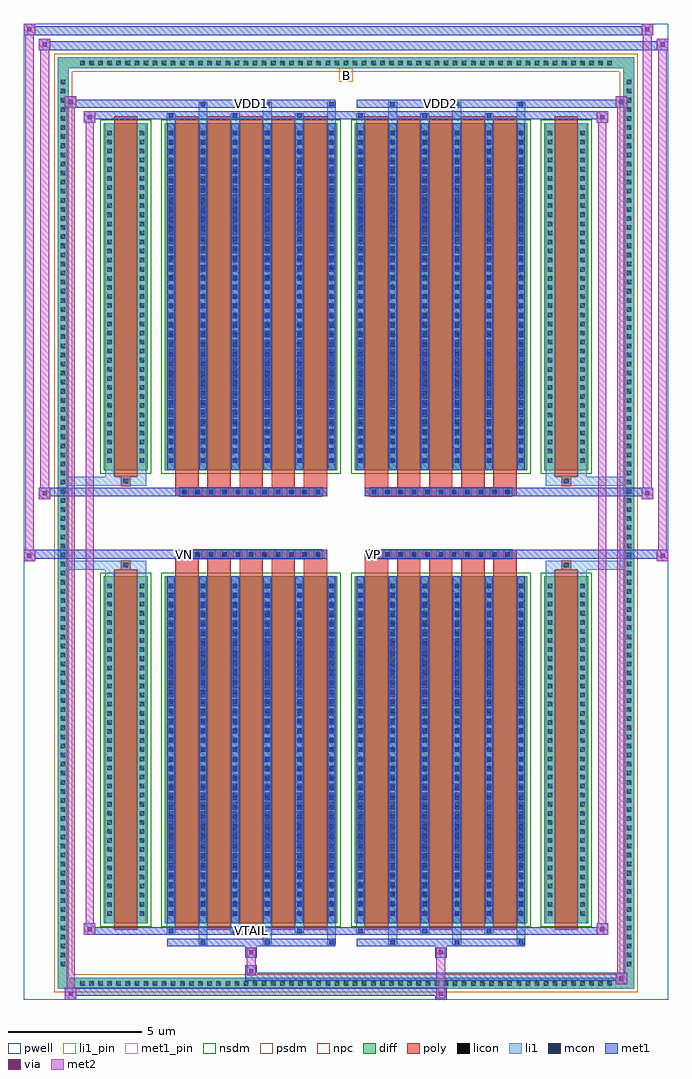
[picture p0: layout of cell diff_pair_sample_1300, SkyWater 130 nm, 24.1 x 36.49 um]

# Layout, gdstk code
import gdstk
lib = gdstk.Library(unit=1e-6, precision=5e-09)
def R(c, l, rs):  # rectangles x0, y0, x1, y1
    for r in rs: c.add(gdstk.rectangle(r[:2], r[2:], *l))
def A(c, l, x, y, w, h, nx, ny, dx, dy):  # array of equal rectangles
    R(c, l, [(x+i*dx, y+j*dy, x+i*dx+w, y+j*dy+h) for i in range(nx) for j in range(ny)])
def P(c, l, *ps):  # polygons
    for p in ps: c.add(gdstk.Polygon(p, *l))
pwell = (64, 44)
diff = (65, 20)
poly = (66, 20)
licon = (66, 44)
li1_pin = (67, 16)
li1 = (67, 20)
mcon = (67, 44)
met1_pin = (68, 16)
met1 = (68, 20)
via = (68, 44)
met2 = (69, 20)
nsdm = (93, 44)
psdm = (94, 20)
npc = (95, 20)

diff_pair_sample_1300 = lib.new_cell('diff_pair_sample_1300')
R(diff_pair_sample_1300, pwell, [(-12.05,-17.81,12.05,18.68), (-9.37,-16,-0.01,-0.8), (0.01,-16,9.37,-0.8), (-9.37,0.8,-0.01,16), (0.01,0.8,9.37,16)])
A(diff_pair_sample_1300, diff, -10.065, -17.41, 0.41, 0.41, 59, 2, 0.34, 34.41)
A(diff_pair_sample_1300, diff, -10.78, -16.695, 0.41, 0.41, 1, 98, 0, 0.34)
A(diff_pair_sample_1300, diff, 10.37, -16.695, 0.41, 0.41, 1, 98, 0, 0.34)
R(diff_pair_sample_1300, diff, [(-10.065,-17.41,10.065,-17), (-10.78,-16.695,-10.37,16.695), (10.37,-16.695,10.78,16.695), (-9.06,-14.955,-7.41,-1.985), (-6.77,-14.955,-0.32,-1.985), (0.32,-14.955,6.77,-1.985), (7.41,-14.955,9.06,-1.985), (-9.06,1.985,-7.41,14.955), (-6.77,1.985,-0.32,14.955), (0.32,1.985,6.77,14.955), (7.41,1.985,9.06,14.955), (-10.065,17,10.065,17.41)])
P(diff_pair_sample_1300, diff, [(10.78,17.41),(-10.78,17.41),(-10.78,-17),(-10.37,-17),(-10.37,17),(10.37,17),(10.37,-17),(-10.37,-17),(-10.78,-17),(-10.78,-17.41),(10.78,-17.41)])
A(diff_pair_sample_1300, poly, -6.38, -15.205, 0.87, 13.47, 5, 2, 1.2, 16.94)
A(diff_pair_sample_1300, poly, 0.71, -15.205, 0.87, 13.47, 5, 2, 1.2, 16.94)
A(diff_pair_sample_1300, poly, -6.38, -1.735, 0.87, 0.405, 5, 2, 1.2, 3.065)
A(diff_pair_sample_1300, poly, 0.71, -1.735, 0.87, 0.405, 5, 2, 1.2, 3.065)
A(diff_pair_sample_1300, poly, -6.21, -1.33, 0.33, 0.33, 11, 2, 0.5, 2.33)
A(diff_pair_sample_1300, poly, 0.88, -1.33, 0.33, 0.33, 11, 2, 0.5, 2.33)
R(diff_pair_sample_1300, poly, [(-8.67,-15.205,-7.8,-1.735), (7.8,-15.205,8.67,-1.735), (-8.4,-1.735,-8.07,-1.405), (-8.4,-1.735,-8.07,-1.405), (8.07,-1.735,8.4,-1.405), (8.07,-1.735,8.4,-1.405), (-6.38,-1.33,-0.71,-1), (0.71,-1.33,6.38,-1), (-6.38,1,-0.71,1.33), (0.71,1,6.38,1.33), (-8.4,1.405,-8.07,1.735), (-8.4,1.405,-8.07,1.735), (8.07,1.405,8.4,1.735), (8.07,1.405,8.4,1.735), (-8.67,1.735,-7.8,15.205), (7.8,1.735,8.67,15.205)])
A(diff_pair_sample_1300, licon, -9.945, -17.29, 0.17, 0.17, 59, 2, 0.34, 34.41)
A(diff_pair_sample_1300, licon, -10.66, -16.575, 0.17, 0.17, 1, 98, 0, 0.34)
A(diff_pair_sample_1300, licon, 10.49, -16.575, 0.17, 0.17, 1, 98, 0, 0.34)
A(diff_pair_sample_1300, licon, -8.92, -14.675, 0.17, 0.17, 1, 37, 0, 0.34)
A(diff_pair_sample_1300, licon, -7.72, -14.675, 0.17, 0.17, 1, 37, 0, 0.34)
A(diff_pair_sample_1300, licon, -6.63, -14.675, 0.17, 0.17, 6, 37, 1.2, 0.34)
A(diff_pair_sample_1300, licon, 0.46, -14.675, 0.17, 0.17, 6, 37, 1.2, 0.34)
A(diff_pair_sample_1300, licon, 7.55, -14.675, 0.17, 0.17, 1, 37, 0, 0.34)
A(diff_pair_sample_1300, licon, 8.75, -14.675, 0.17, 0.17, 1, 37, 0, 0.34)
A(diff_pair_sample_1300, licon, -6.13, -1.25, 0.17, 0.17, 11, 2, 0.5, 2.33)
A(diff_pair_sample_1300, licon, 0.96, -1.25, 0.17, 0.17, 11, 2, 0.5, 2.33)
A(diff_pair_sample_1300, licon, -8.92, 2.265, 0.17, 0.17, 1, 37, 0, 0.34)
A(diff_pair_sample_1300, licon, -7.72, 2.265, 0.17, 0.17, 1, 37, 0, 0.34)
A(diff_pair_sample_1300, licon, -6.63, 2.265, 0.17, 0.17, 6, 37, 1.2, 0.34)
A(diff_pair_sample_1300, licon, 0.46, 2.265, 0.17, 0.17, 6, 37, 1.2, 0.34)
A(diff_pair_sample_1300, licon, 7.55, 2.265, 0.17, 0.17, 1, 37, 0, 0.34)
A(diff_pair_sample_1300, licon, 8.75, 2.265, 0.17, 0.17, 1, 37, 0, 0.34)
R(diff_pair_sample_1300, licon, [(-8.32,-1.655,-8.15,-1.485), (8.15,-1.655,8.32,-1.485), (-8.32,1.485,-8.15,1.655), (8.15,1.485,8.32,1.655)])
R(diff_pair_sample_1300, li1_pin, [(-0.25,16.5,0.25,17)])
A(diff_pair_sample_1300, li1, -10.025, -17.37, 0.33, 0.33, 59, 2, 0.34, 34.41)
A(diff_pair_sample_1300, li1, -10.74, -16.655, 0.33, 0.33, 1, 98, 0, 0.34)
A(diff_pair_sample_1300, li1, 10.41, -16.655, 0.33, 0.33, 1, 98, 0, 0.34)
A(diff_pair_sample_1300, li1, -5.51, -15.76, 0.33, 0.805, 3, 2, 2.4, 30.715)
A(diff_pair_sample_1300, li1, -5.43, -15.76, 0.17, 0.17, 3, 2, 2.4, 31.35)
A(diff_pair_sample_1300, li1, 1.58, -15.76, 0.33, 0.805, 3, 2, 2.4, 30.715)
A(diff_pair_sample_1300, li1, 1.66, -15.76, 0.17, 0.17, 3, 2, 2.4, 31.35)
A(diff_pair_sample_1300, li1, -6.71, -15.33, 0.33, 0.375, 3, 2, 2.4, 30.285)
A(diff_pair_sample_1300, li1, -6.63, -15.33, 0.17, 0.17, 3, 2, 2.4, 30.49)
A(diff_pair_sample_1300, li1, 0.38, -15.33, 0.33, 0.375, 3, 2, 2.4, 30.285)
A(diff_pair_sample_1300, li1, 0.46, -15.33, 0.17, 0.17, 3, 2, 2.4, 30.49)
A(diff_pair_sample_1300, li1, -6.71, -14.955, 0.33, 12.97, 6, 2, 1.2, 16.94)
A(diff_pair_sample_1300, li1, 0.38, -14.955, 0.33, 12.97, 6, 2, 1.2, 16.94)
A(diff_pair_sample_1300, li1, -9, -14.755, 0.33, 0.33, 1, 37, 0, 0.34)
A(diff_pair_sample_1300, li1, -7.8, -14.755, 0.33, 0.33, 1, 37, 0, 0.34)
A(diff_pair_sample_1300, li1, -6.71, -14.755, 0.33, 0.33, 6, 37, 1.2, 0.34)
A(diff_pair_sample_1300, li1, 0.38, -14.755, 0.33, 0.33, 6, 37, 1.2, 0.34)
A(diff_pair_sample_1300, li1, 7.47, -14.755, 0.33, 0.33, 1, 37, 0, 0.34)
A(diff_pair_sample_1300, li1, 8.67, -14.755, 0.33, 0.33, 1, 37, 0, 0.34)
A(diff_pair_sample_1300, li1, -6.63, -14.675, 0.17, 0.17, 6, 35, 1.2, 0.36)
A(diff_pair_sample_1300, li1, -6.63, -14.675, 0.17, 12.41, 6, 2, 1.2, 16.94)
A(diff_pair_sample_1300, li1, 0.46, -14.675, 0.17, 0.17, 6, 35, 1.2, 0.36)
A(diff_pair_sample_1300, li1, 0.46, -14.675, 0.17, 12.41, 6, 2, 1.2, 16.94)
A(diff_pair_sample_1300, li1, -6.21, -1.33, 0.33, 0.33, 11, 2, 0.5, 2.33)
A(diff_pair_sample_1300, li1, 0.88, -1.33, 0.33, 0.33, 11, 2, 0.5, 2.33)
A(diff_pair_sample_1300, li1, -9, 2.185, 0.33, 0.33, 1, 37, 0, 0.34)
A(diff_pair_sample_1300, li1, -7.8, 2.185, 0.33, 0.33, 1, 37, 0, 0.34)
A(diff_pair_sample_1300, li1, -6.71, 2.185, 0.33, 0.33, 6, 37, 1.2, 0.34)
A(diff_pair_sample_1300, li1, 0.38, 2.185, 0.33, 0.33, 6, 37, 1.2, 0.34)
A(diff_pair_sample_1300, li1, 7.47, 2.185, 0.33, 0.33, 1, 37, 0, 0.34)
A(diff_pair_sample_1300, li1, 8.67, 2.185, 0.33, 0.33, 1, 37, 0, 0.34)
A(diff_pair_sample_1300, li1, -6.63, 2.265, 0.17, 0.17, 6, 35, 1.2, 0.36)
A(diff_pair_sample_1300, li1, 0.46, 2.265, 0.17, 0.17, 6, 35, 1.2, 0.36)
R(diff_pair_sample_1300, li1, [(-10.78,-17.41,-10.37,-17), (-10.78,-17.41,-10.37,-17), (-10.37,-17.41,10.37,-17), (10.37,-17.41,10.78,-17), (10.37,-17.41,10.78,-17), (-10.78,-17,-10.37,17), (10.37,-17,10.78,17), (-9,-14.955,-8.67,-1.985), (-7.8,-14.955,-7.47,-1.985), (7.47,-14.955,7.8,-1.985), (8.67,-14.955,9,-1.985), (-9,-1.985,-8.67,-1.405), (-7.8,-1.985,-7.47,-1.405), (7.47,-1.985,7.8,-1.405), (8.67,-1.985,9,-1.405), (-10.78,-1.735,-8.4,-1.405), (-9,-1.735,-8.4,-1.405), (-8.4,-1.735,-8.07,-1.405), (-8.07,-1.735,-7.47,-1.405), (7.47,-1.735,8.07,-1.405), (8.07,-1.735,8.4,-1.405), (8.07,-1.735,10.78,-1.405), (8.4,-1.735,9,-1.405), (-10.78,1.405,-8.4,1.735), (-9,1.405,-8.4,1.735), (-9,1.405,-8.67,1.985), (-8.4,1.405,-8.07,1.735), (-8.07,1.405,-7.47,1.735), (-7.8,1.405,-7.47,1.985), (7.47,1.405,8.07,1.735), (7.47,1.405,7.8,1.985), (8.07,1.405,8.4,1.735), (8.07,1.405,10.78,1.735), (8.4,1.405,9,1.735), (8.67,1.405,9,1.985), (-9,1.985,-8.67,14.955), (-7.8,1.985,-7.47,14.955), (7.47,1.985,7.8,14.955), (8.67,1.985,9,14.955), (-10.78,17,-10.37,17.41), (-10.78,17,-10.37,17.41), (-10.37,17,10.37,17.41), (10.37,17,10.78,17.41), (10.37,17,10.78,17.41)])
A(diff_pair_sample_1300, mcon, -5.43, -15.76, 0.17, 0.17, 3, 2, 2.4, 31.35)
A(diff_pair_sample_1300, mcon, 1.66, -15.76, 0.17, 0.17, 3, 2, 2.4, 31.35)
A(diff_pair_sample_1300, mcon, -6.63, -15.33, 0.17, 0.17, 3, 2, 2.4, 30.49)
A(diff_pair_sample_1300, mcon, 0.46, -15.33, 0.17, 0.17, 3, 2, 2.4, 30.49)
A(diff_pair_sample_1300, mcon, -6.63, -14.675, 0.17, 0.17, 6, 35, 1.2, 0.36)
A(diff_pair_sample_1300, mcon, 0.46, -14.675, 0.17, 0.17, 6, 35, 1.2, 0.36)
A(diff_pair_sample_1300, mcon, -6.13, -1.25, 0.17, 0.17, 11, 2, 0.5, 2.33)
A(diff_pair_sample_1300, mcon, 0.96, -1.25, 0.17, 0.17, 11, 2, 0.5, 2.33)
A(diff_pair_sample_1300, mcon, -6.63, 2.265, 0.17, 0.17, 6, 35, 1.2, 0.36)
A(diff_pair_sample_1300, mcon, 0.46, 2.265, 0.17, 0.17, 6, 35, 1.2, 0.36)
R(diff_pair_sample_1300, met1_pin, [(-3.68,-15.37,-3.41,-15.1), (-6.18,-1.29,-5.91,-1.02), (0.91,-1.29,1.18,-1.02), (-3.68,15.55,-3.41,15.82), (3.41,15.55,3.68,15.82)])
A(diff_pair_sample_1300, met1, -5.49, -15.82, 0.29, 0.29, 3, 2, 2.4, 31.35)
A(diff_pair_sample_1300, met1, 1.6, -15.82, 0.29, 0.29, 3, 2, 2.4, 31.35)
A(diff_pair_sample_1300, met1, -6.69, -15.39, 0.29, 0.29, 3, 2, 2.4, 30.49)
A(diff_pair_sample_1300, met1, 0.4, -15.39, 0.29, 0.29, 3, 2, 2.4, 30.49)
A(diff_pair_sample_1300, met1, -6.69, -14.955, 0.29, 12.97, 6, 2, 1.2, 16.94)
A(diff_pair_sample_1300, met1, 0.4, -14.955, 0.29, 12.97, 6, 2, 1.2, 16.94)
A(diff_pair_sample_1300, met1, -6.69, -14.735, 0.29, 0.29, 6, 35, 1.2, 0.36)
A(diff_pair_sample_1300, met1, 0.4, -14.735, 0.29, 0.29, 6, 35, 1.2, 0.36)
A(diff_pair_sample_1300, met1, -6.19, -1.31, 0.29, 0.29, 11, 2, 0.5, 2.33)
A(diff_pair_sample_1300, met1, 0.9, -1.31, 0.29, 0.29, 11, 2, 0.5, 2.33)
A(diff_pair_sample_1300, met1, -6.69, 2.205, 0.29, 0.29, 6, 35, 1.2, 0.36)
A(diff_pair_sample_1300, met1, 0.4, 2.205, 0.29, 0.29, 6, 35, 1.2, 0.36)
R(diff_pair_sample_1300, met1, [(-10.51,-17.81,-10.08,-17.38), (3.33,-17.81,3.76,-17.38), (-10.51,-17.67,3.76,-17.38), (10.08,-17.24,10.51,-16.81), (-3.76,-17.1,10.51,-16.81), (-3.76,-16.96,-3.33,-16.53), (-3.76,-16.25,-3.33,-15.82), (3.33,-16.25,3.76,-15.82), (-6.69,-15.82,-0.4,-15.53), (0.4,-15.82,6.69,-15.53), (-9.8,-15.39,-9.37,-14.96), (-9.8,-15.39,-6.69,-15.1), (-6.69,-15.39,-0.4,-15.1), (-0.4,-15.39,0.4,-15.1), (0.4,-15.39,6.69,-15.1), (6.69,-15.39,9.8,-15.1), (9.37,-15.39,9.8,-14.96), (-12.05,-1.43,-11.62,-1), (11.62,-1.43,12.05,-1), (-12.05,-1.33,-0.71,-1), (-6.38,-1.33,-0.71,-1), (0.71,-1.33,6.38,-1), (0.71,-1.33,12.05,-1), (-11.48,0.9,-11.05,1.33), (11.05,0.9,11.48,1.33), (-11.48,1,-6.38,1.33), (-6.38,1,-0.71,1.33), (0.71,1,6.38,1.33), (6.38,1,11.48,1.33), (-9.8,14.96,-9.37,15.39), (9.37,14.96,9.8,15.39), (-9.8,15.1,-6.69,15.39), (-6.69,15.1,-0.4,15.39), (-0.4,15.1,0.4,15.39), (0.4,15.1,6.69,15.39), (6.69,15.1,9.8,15.39), (-10.51,15.53,-10.08,15.96), (-10.51,15.53,-6.69,15.82), (-6.69,15.53,-0.4,15.82), (0.4,15.53,6.69,15.82), (6.69,15.53,10.51,15.82), (10.08,15.53,10.51,15.96), (-11.48,17.68,-11.05,18.11), (-11.48,17.68,-9.37,18.01), (-9.37,17.68,9.37,18.01), (9.37,17.68,12.05,18.01), (11.62,17.68,12.05,18.11), (-12.05,18.25,-11.62,18.68), (-12.05,18.25,-9.37,18.58), (-9.37,18.25,9.37,18.58), (9.37,18.25,11.48,18.58), (11.05,18.25,11.48,18.68)])
R(diff_pair_sample_1300, via, [(-10.37,-17.67,-10.22,-17.52), (3.47,-17.67,3.62,-17.52), (10.22,-17.1,10.37,-16.95), (-3.62,-16.82,-3.47,-16.67), (-3.62,-16.11,-3.47,-15.96), (3.47,-16.11,3.62,-15.96), (-9.66,-15.25,-9.51,-15.1), (9.51,-15.25,9.66,-15.1), (-11.91,-1.29,-11.76,-1.14), (11.76,-1.29,11.91,-1.14), (-11.34,1.04,-11.19,1.19), (11.19,1.04,11.34,1.19), (-9.66,15.1,-9.51,15.25), (9.51,15.1,9.66,15.25), (-10.37,15.67,-10.22,15.82), (10.22,15.67,10.37,15.82), (-11.34,17.82,-11.19,17.97), (11.76,17.82,11.91,17.97), (-11.91,18.39,-11.76,18.54), (11.19,18.39,11.34,18.54)])
R(diff_pair_sample_1300, met2, [(-10.51,-17.81,-10.08,-17.38), (-10.44,-17.81,-10.15,15.96), (-10.15,-17.81,-10.08,-17.38), (-10.46,-17.76,-10.13,-17.43), (3.38,-17.76,3.71,-17.43), (3.38,-17.43,3.71,-16.2), (10.08,-17.24,10.51,-16.81), (10.15,-17.24,10.44,15.96), (10.44,-17.24,10.51,-16.81), (10.13,-17.19,10.46,-16.86), (-3.71,-16.91,-3.38,-16.58), (-3.71,-16.58,-3.38,-16.2), (-3.71,-16.2,-3.38,-15.87), (3.38,-16.2,3.71,-15.87), (-9.8,-15.39,-9.37,-14.96), (-9.73,-15.39,-9.44,15.39), (-9.44,-15.39,-9.37,-14.96), (9.37,-15.39,9.8,-14.96), (9.44,-15.39,9.73,15.39), (9.73,-15.39,9.8,-14.96), (-9.75,-15.34,-9.42,-15.01), (9.42,-15.34,9.75,-15.01), (-12.05,-1.43,-11.62,-1), (-12,-1.43,-11.67,18.68), (-11.67,-1.43,-11.62,-1), (11.62,-1.43,12.05,-1), (11.67,-1.43,12,18.11), (12,-1.43,12.05,-1), (-12,-1.38,-11.67,-1.05), (11.67,-1.38,12,-1.05), (-11.48,0.9,-11.05,1.33), (-11.43,0.9,-11.1,18.11), (-11.1,0.9,-11.05,1.33), (11.05,0.9,11.48,1.33), (11.1,0.9,11.43,18.68), (11.43,0.9,11.48,1.33), (-11.43,0.95,-11.1,1.28), (11.1,0.95,11.43,1.28), (-9.8,14.96,-9.37,15.39), (-9.44,14.96,-9.37,15.39), (9.37,14.96,9.8,15.39), (9.73,14.96,9.8,15.39), (-9.75,15.01,-9.42,15.34), (9.42,15.01,9.75,15.34), (-10.51,15.53,-10.08,15.96), (-10.15,15.53,-10.08,15.96), (10.08,15.53,10.51,15.96), (10.44,15.53,10.51,15.96), (-10.46,15.58,-10.13,15.91), (10.13,15.58,10.46,15.91), (-11.48,17.68,-11.05,18.11), (-11.1,17.68,-11.05,18.11), (11.62,17.68,12.05,18.11), (12,17.68,12.05,18.11), (-11.43,17.73,-11.1,18.06), (11.67,17.73,12,18.06), (-12.05,18.25,-11.62,18.68), (-11.67,18.25,-11.62,18.68), (11.05,18.25,11.48,18.68), (11.43,18.25,11.48,18.68), (-12,18.3,-11.67,18.63), (11.1,18.3,11.43,18.63)])
R(diff_pair_sample_1300, nsdm, [(-9.19,-15.085,-7.28,-1.855), (-6.9,-15.085,-0.19,-1.855), (0.19,-15.085,6.9,-1.855), (7.28,-15.085,9.19,-1.855), (-9.19,1.855,-7.28,15.085), (-6.9,1.855,-0.19,15.085), (0.19,1.855,6.9,15.085), (7.28,1.855,9.19,15.085)])
P(diff_pair_sample_1300, psdm, [(10.91,17.54),(-10.91,17.54),(-10.91,-16.87),(-10.24,-16.87),(-10.24,16.87),(10.24,16.87),(10.24,-16.87),(-10.24,-16.87),(-10.91,-16.87),(-10.91,-17.54),(10.91,-17.54)])
A(diff_pair_sample_1300, npc, -6.23, -1.35, 0.37, 0.37, 11, 2, 0.5, 2.33)
A(diff_pair_sample_1300, npc, 0.86, -1.35, 0.37, 0.37, 11, 2, 0.5, 2.33)
R(diff_pair_sample_1300, npc, [(-8.42,-1.755,-8.05,-1.385), (8.05,-1.755,8.42,-1.385), (-6.23,-1.35,-5.36,-0.98), (-6.23,-1.35,-5.36,-0.98), (-5.73,-1.35,-4.86,-0.98), (-5.73,-1.35,-4.86,-0.98), (-5.23,-1.35,-4.36,-0.98), (-5.23,-1.35,-4.36,-0.98), (-4.73,-1.35,-3.86,-0.98), (-4.73,-1.35,-3.86,-0.98), (-4.23,-1.35,-3.36,-0.98), (-4.23,-1.35,-3.36,-0.98), (-3.73,-1.35,-2.86,-0.98), (-3.73,-1.35,-2.86,-0.98), (-3.23,-1.35,-2.36,-0.98), (-3.23,-1.35,-2.36,-0.98), (-2.73,-1.35,-1.86,-0.98), (-2.73,-1.35,-1.86,-0.98), (-2.23,-1.35,-1.36,-0.98), (-2.23,-1.35,-1.36,-0.98), (-1.73,-1.35,-0.86,-0.98), (-1.73,-1.35,-0.86,-0.98), (0.86,-1.35,1.73,-0.98), (0.86,-1.35,1.73,-0.98), (1.36,-1.35,2.23,-0.98), (1.36,-1.35,2.23,-0.98), (1.86,-1.35,2.73,-0.98), (1.86,-1.35,2.73,-0.98), (2.36,-1.35,3.23,-0.98), (2.36,-1.35,3.23,-0.98), (2.86,-1.35,3.73,-0.98), (2.86,-1.35,3.73,-0.98), (3.36,-1.35,4.23,-0.98), (3.36,-1.35,4.23,-0.98), (3.86,-1.35,4.73,-0.98), (3.86,-1.35,4.73,-0.98), (4.36,-1.35,5.23,-0.98), (4.36,-1.35,5.23,-0.98), (4.86,-1.35,5.73,-0.98), (4.86,-1.35,5.73,-0.98), (5.36,-1.35,6.23,-0.98), (5.36,-1.35,6.23,-0.98), (-6.23,0.98,-5.36,1.35), (-6.23,0.98,-5.36,1.35), (-5.73,0.98,-4.86,1.35), (-5.73,0.98,-4.86,1.35), (-5.23,0.98,-4.36,1.35), (-5.23,0.98,-4.36,1.35), (-4.73,0.98,-3.86,1.35), (-4.73,0.98,-3.86,1.35), (-4.23,0.98,-3.36,1.35), (-4.23,0.98,-3.36,1.35), (-3.73,0.98,-2.86,1.35), (-3.73,0.98,-2.86,1.35), (-3.23,0.98,-2.36,1.35), (-3.23,0.98,-2.36,1.35), (-2.73,0.98,-1.86,1.35), (-2.73,0.98,-1.86,1.35), (-2.23,0.98,-1.36,1.35), (-2.23,0.98,-1.36,1.35), (-1.73,0.98,-0.86,1.35), (-1.73,0.98,-0.86,1.35), (0.86,0.98,1.73,1.35), (0.86,0.98,1.73,1.35), (1.36,0.98,2.23,1.35), (1.36,0.98,2.23,1.35), (1.86,0.98,2.73,1.35), (1.86,0.98,2.73,1.35), (2.36,0.98,3.23,1.35), (2.36,0.98,3.23,1.35), (2.86,0.98,3.73,1.35), (2.86,0.98,3.73,1.35), (3.36,0.98,4.23,1.35), (3.36,0.98,4.23,1.35), (3.86,0.98,4.73,1.35), (3.86,0.98,4.73,1.35), (4.36,0.98,5.23,1.35), (4.36,0.98,5.23,1.35), (4.86,0.98,5.73,1.35), (4.86,0.98,5.73,1.35), (5.36,0.98,6.23,1.35), (5.36,0.98,6.23,1.35), (-8.42,1.385,-8.05,1.755), (8.05,1.385,8.42,1.755)])
diff_pair_sample_1300.add(gdstk.Label('VTAIL', (-3.545,-15.235), layer=68, texttype=5))
diff_pair_sample_1300.add(gdstk.Label('VN', (-6.045,-1.155), layer=68, texttype=5))
diff_pair_sample_1300.add(gdstk.Label('VP', (1.045,-1.155), layer=68, texttype=5))
diff_pair_sample_1300.add(gdstk.Label('B', (0,16.75), layer=67, texttype=5))
diff_pair_sample_1300.add(gdstk.Label('VDD2', (3.545,15.685), layer=68, texttype=5))
diff_pair_sample_1300.add(gdstk.Label('VDD1', (-3.545,15.685), layer=68, texttype=5))

lib.write_gds('diff_pair_sample_1300.gds')
